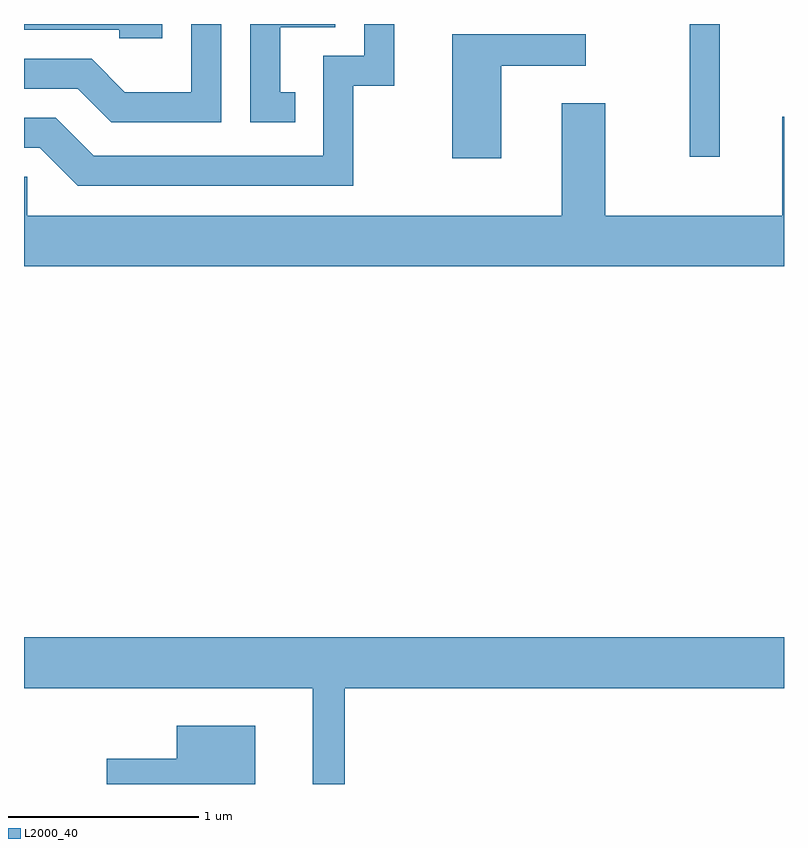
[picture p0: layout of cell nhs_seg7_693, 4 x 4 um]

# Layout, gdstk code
import gdstk
lib = gdstk.Library(unit=1e-6, precision=1e-09)
def R(c, l, rs):  # rectangles x0, y0, x1, y1
    for r in rs: c.add(gdstk.rectangle(r[:2], r[2:], *l))
def P(c, l, *ps):  # polygons
    for p in ps: c.add(gdstk.Polygon(p, *l))
L2000_40 = (2000, 40)

nhs_seg7_693 = lib.new_cell('nhs_seg7_693')
R(nhs_seg7_693, L2000_40, [(209.116,1721.553,209.274,1722.252)])
P(nhs_seg7_693, L2000_40, [(206.649,1722.252),(206.491,1722.252),(206.491,1721.894),(206.142,1721.894),(205.967,1722.069),(205.611,1722.069),(205.611,1721.911),(205.894,1721.911),(206.069,1721.736),(206.649,1721.736)],
  [(207.038,1721.894),(206.959,1721.894),(206.959,1722.236),(207.249,1722.236),(207.249,1722.252),(206.801,1722.252),(206.801,1721.736),(207.038,1721.736)],
  [(206.339,1722.252),(205.611,1722.252),(205.611,1722.221),(206.111,1722.221),(206.111,1722.176),(206.339,1722.176)],
  [(207.344,1721.926),(207.559,1721.926),(207.559,1722.252),(207.401,1722.252),(207.401,1722.084),(207.186,1722.084),(207.186,1721.559),(205.977,1721.559),(205.777,1721.759),(205.611,1721.759),(205.611,1721.601),(205.694,1721.601),(205.894,1721.401),(207.344,1721.401)],
  [(208.124,1722.031),(208.568,1722.031),(208.568,1722.199),(207.866,1722.199),(207.866,1721.546),(208.124,1721.546)],
  [(209.611,1721.764),(209.601,1721.764),(209.601,1721.244),(208.669,1721.244),(208.669,1721.834),(208.441,1721.834),(208.441,1721.244),(205.629,1721.244),(205.629,1721.449),(205.611,1721.449),(205.611,1720.976),(209.611,1720.976)],
  [(207.299,1718.756),(209.611,1718.756),(209.611,1719.024),(205.611,1719.024),(205.611,1718.756),(207.131,1718.756),(207.131,1718.252),(207.299,1718.252)],
  [(206.829,1718.559),(206.416,1718.559),(206.416,1718.384),(206.046,1718.384),(206.046,1718.252),(206.829,1718.252)])

lib.write_gds('nhs_seg7_693.gds')
